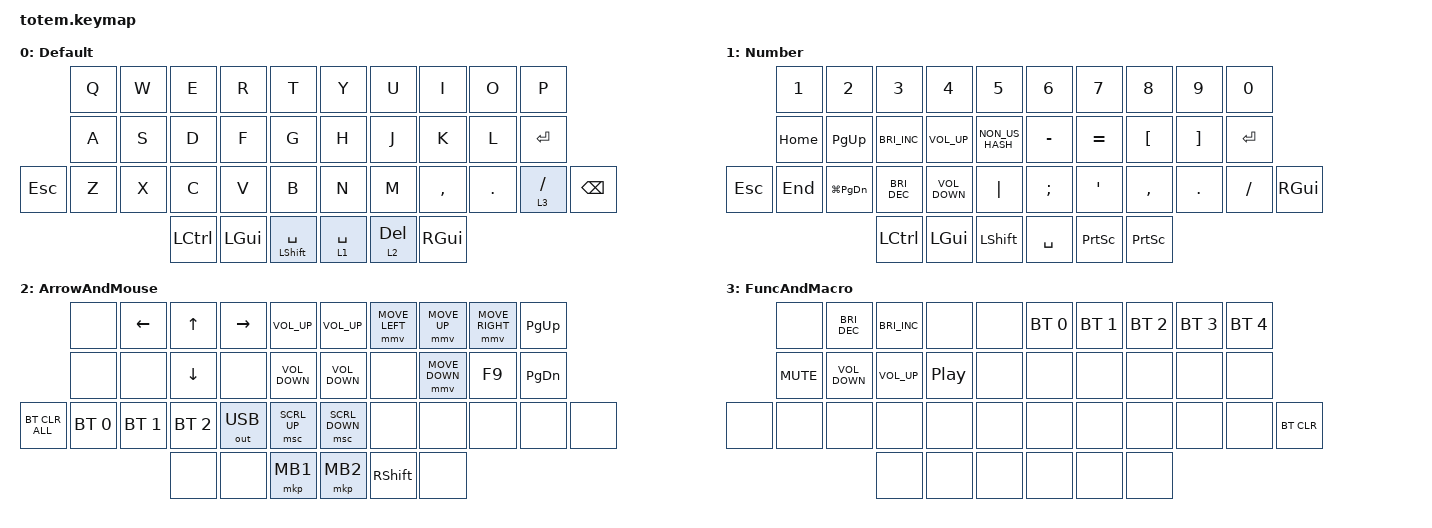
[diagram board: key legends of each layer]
//
//                                                        ▀▀▀▀▀     ▀▀▀▀▀          ▀▀█▀▀
//                                                        ▄▀▀▀▄  ▄  ▄▀▀▀▄  ▄  ▄▀▀▀▄  █  ▄▀▀▀▄
//                                                        █   █  █  █   █  █  █   █  █  █   █
//                                                         ▀▀▀   █   ▀▀▀   █   ▀▀▀   ▀   ▀▀▀
//                                                               █      ▄▄▄█▄▄▄    █   █  
//                                                               ▀      █  █  █     █▄█
//                                                             ▀▀▀▀▀    █  █  █      ▀
//                                                                      ▀  ▀  ▀
//
// ▄▄▄▄▄▄▄▄▄▄▄▄▄▄▄▄▄▄▄▄▄▄▄▄▄▄▄▄▄▄▄▄▄▄▄▄▄▄▄▄▄▄▄▄▄▄▄▄▄▄▄▄▄▄▄▄▄▄▄▄▄▄▄▄▄▄▄▄▄▄▄▄▄▄▄▄▄▄▄▄▄▄▄▄▄▄▄▄▄▄▄▄▄▄▄▄▄▄▄▄▄▄▄▄▄▄▄▄▄▄▄▄▄▄▄▄▄▄▄▄▄▄▄▄▄▄▄▄▄▄▄▄▄▄▄▄▄▄▄▄▄▄▄▄▄▄▄▄▄

#include <behaviors.dtsi>
#include <dt-bindings/zmk/bt.h>
#include <dt-bindings/zmk/keys.h>
#include <dt-bindings/zmk/outputs.h>
#include <dt-bindings/zmk/pointing.h>

/ {
    keymap {
        compatible = "zmk,keymap";

        Default {
            bindings = <
            &kp Q  &kp W  &kp E      &kp R         &kp T                   &kp Y        &kp U         &kp I          &kp O    &kp P
            &kp A  &kp S  &kp D      &kp F         &kp G                   &kp H        &kp J         &kp K          &kp L    &kp ENTER
&kp ESCAPE  &kp Z  &kp X  &kp C      &kp V         &kp B                   &kp N        &kp M         &kp COMMA      &kp DOT  &lt 3 SLASH  &kp BACKSPACE
                          &kp LCTRL  &kp LEFT_GUI  &mt LEFT_SHIFT SPACE    &lt 1 SPACE  &lt 2 DELETE  &kp RIGHT_GUI
            >;
        };

        Number {
            bindings = <
         &kp N1    &kp N2             &kp N3                &kp N4             &kp N5             &kp N6     &kp N7           &kp N8           &kp N9    &kp N0
         &kp HOME  &kp PAGE_UP        &kp C_BRIGHTNESS_INC  &kp C_VOLUME_UP    &kp NON_US_HASH    &kp MINUS  &kp EQUAL        &kp LBKT         &kp RBKT  &kp ENTER
&kp ESC  &kp END   &kp LG(PAGE_DOWN)  &kp C_BRIGHTNESS_DEC  &kp C_VOLUME_DOWN  &kp PIPE           &kp SEMI   &kp APOS         &kp COMMA        &kp DOT   &kp FSLH   &kp RGUI
                                      &kp LCTRL             &kp LGUI           &kp LSHFT          &kp SPACE  &kp PRINTSCREEN  &kp PRINTSCREEN
            >;
        };

        ArrowAndMouse {
            bindings = <
                &none         &kp LEFT_ARROW  &kp UP_ARROW    &kp RIGHT_ARROW  &kp C_VOLUME_UP      &kp C_VOLUME_UP    &mmv MOVE_LEFT   &mmv MOVE_UP    &mmv MOVE_RIGHT  &kp PAGE_UP
                &none         &none           &kp DOWN_ARROW  &none            &kp C_VOLUME_DOWN    &kp C_VOLUME_DOWN  &none           &mmv MOVE_DOWN  &kp F9           &kp PAGE_DOWN
&bt BT_CLR_ALL  &bt BT_SEL 0  &bt BT_SEL 1    &bt BT_SEL 2    &out OUT_USB     &msc SCRL_UP         &msc SCRL_DOWN     &none          &none         &none          &none        &none
                                              &none           &none            &mkp MB1             &mkp MB2           &kp RIGHT_SHIFT  &none
            >;
        };

        FuncAndMacro {
            bindings = <
       &none       &kp C_BRIGHTNESS_DEC  &kp C_BRIGHTNESS_INC  &none             &none    &bt BT_SEL 0  &bt BT_SEL 1  &bt BT_SEL 2  &bt BT_SEL 3  &bt BT_SEL 4
       &kp K_MUTE  &kp C_VOLUME_DOWN     &kp C_VOLUME_UP       &kp C_PLAY_PAUSE  &none    &none         &none         &none         &none         &none
&none  &none       &none                 &none                 &none             &none    &none         &none         &none         &none         &none         &bt BT_CLR
                                         &none                 &none             &none    &none         &none         &none
            >;
        };

        extra1 { status = "reserved"; };

        extra2 { status = "reserved"; };

        extra3 { status = "reserved"; };
    };

    conditional_layers {
        compatible = "zmk,conditional-layers";

        device {
            if-layers = <1 2>;
            then-layer = <3>;
        };
    };
};
